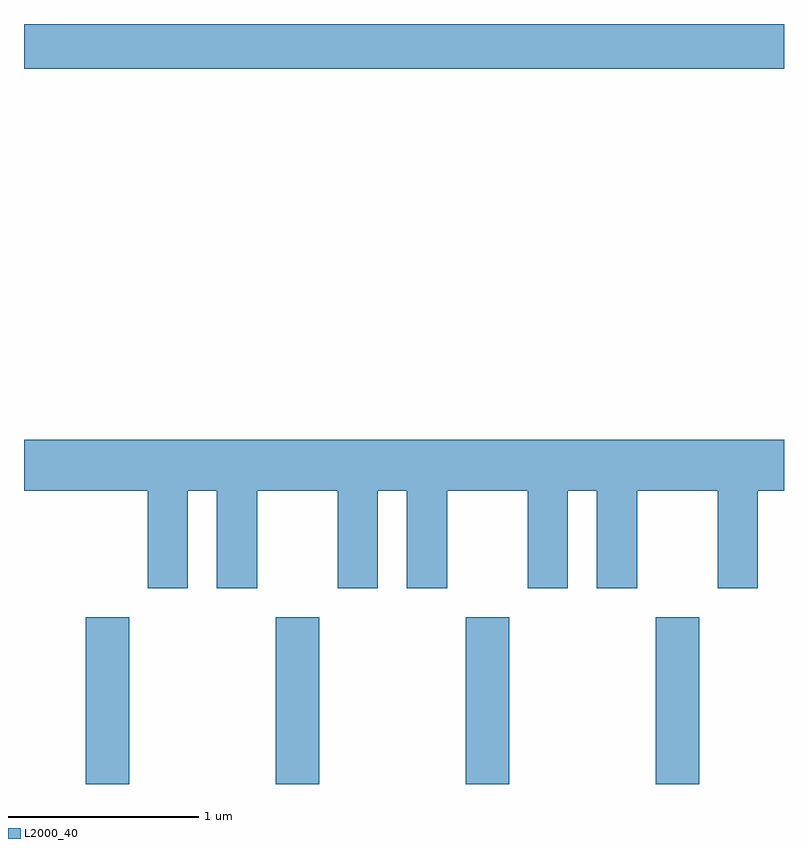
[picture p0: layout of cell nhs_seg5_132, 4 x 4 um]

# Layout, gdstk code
import gdstk
lib = gdstk.Library(unit=1e-6, precision=1e-09)
def R(c, l, rs):  # rectangles x0, y0, x1, y1
    for r in rs: c.add(gdstk.rectangle(r[:2], r[2:], *l))
def A(c, l, x, y, w, h, nx, ny, dx, dy):  # array of equal rectangles
    R(c, l, [(x+i*dx, y+j*dy, x+i*dx+w, y+j*dy+h) for i in range(nx) for j in range(ny)])
def P(c, l, *ps):  # polygons
    for p in ps: c.add(gdstk.Polygon(p, *l))
L2000_40 = (2000, 40)

nhs_seg5_132 = lib.new_cell('nhs_seg5_132')
A(nhs_seg5_132, L2000_40, 187.936, 1524.072, 0.228, 0.877, 4, 1, 1, 0)
R(nhs_seg5_132, L2000_40, [(187.611,1527.836,191.611,1528.072)])
P(nhs_seg5_132, L2000_40, [(188.474,1525.616),(188.626,1525.616),(188.626,1525.101),(188.839,1525.101),(188.839,1525.616),(189.261,1525.616),(189.261,1525.101),(189.474,1525.101),(189.474,1525.616),(189.626,1525.616),(189.626,1525.101),(189.839,1525.101),(189.839,1525.616),(190.261,1525.616),(190.261,1525.101),(190.474,1525.101),(190.474,1525.616),(190.626,1525.616),(190.626,1525.101),(190.839,1525.101),(190.839,1525.616),(191.261,1525.616),(191.261,1525.101),(191.474,1525.101),(191.474,1525.616),(191.611,1525.616),(191.611,1525.884),(187.611,1525.884),(187.611,1525.616),(188.261,1525.616),(188.261,1525.101),(188.474,1525.101)])

lib.write_gds('nhs_seg5_132.gds')
